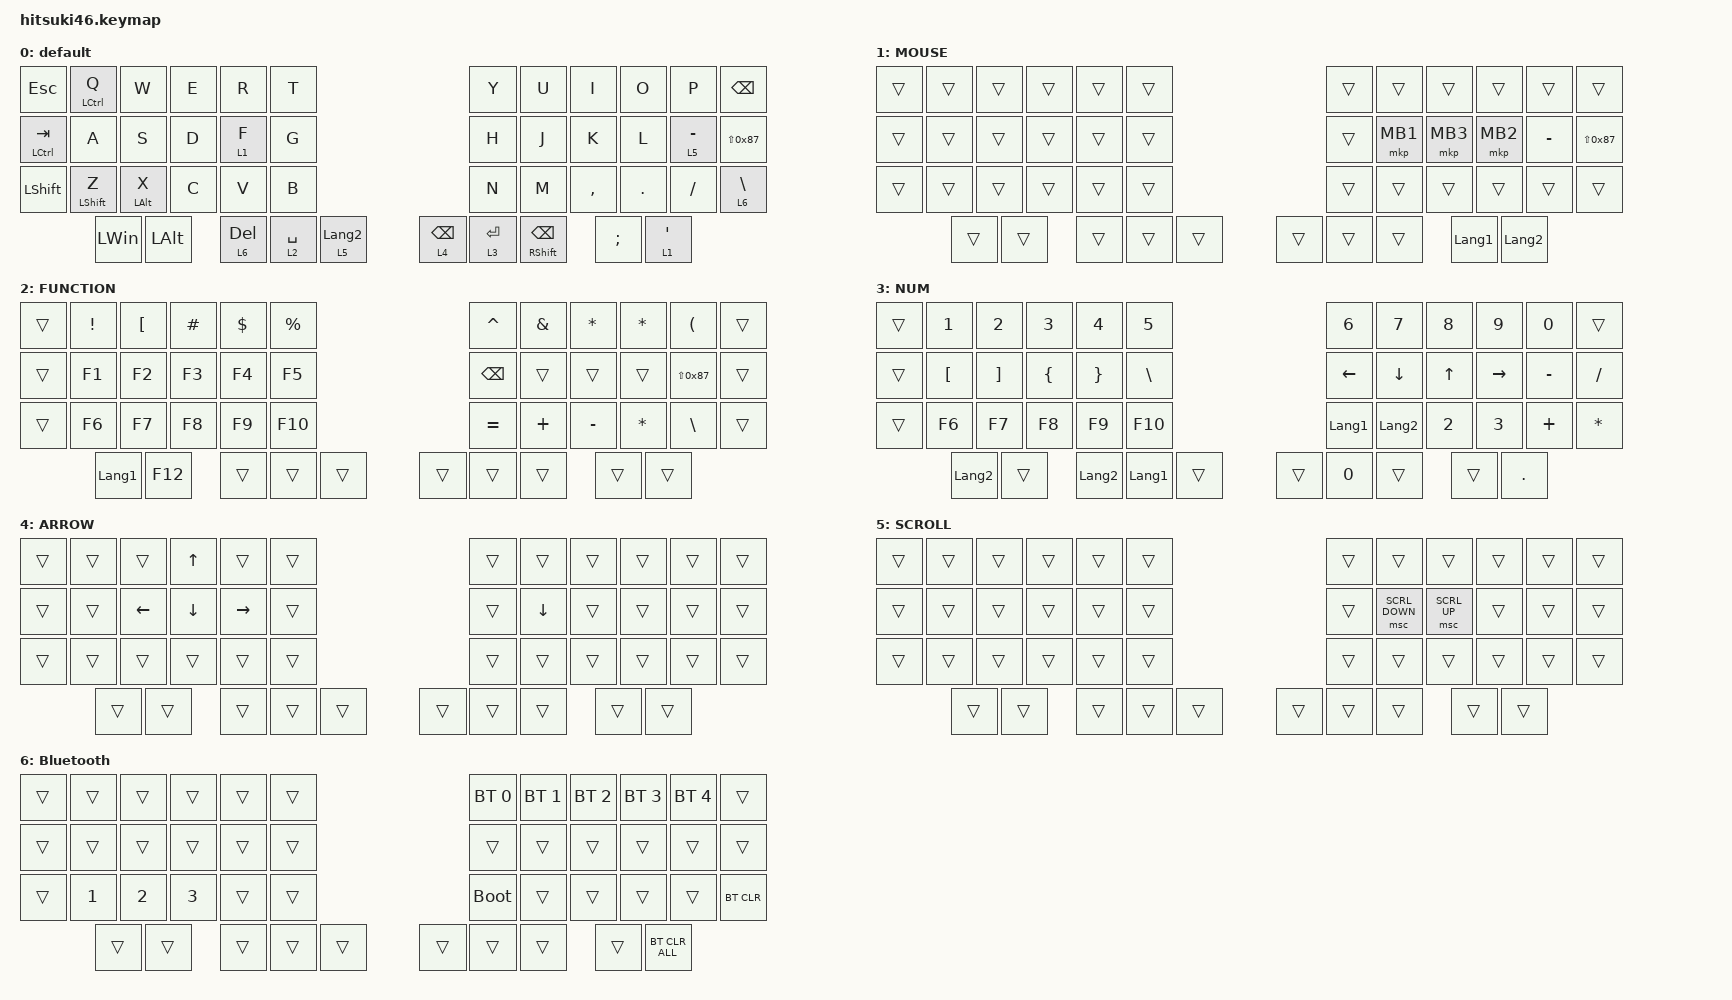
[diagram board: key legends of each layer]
#include <behaviors.dtsi>
#include <dt-bindings/zmk/bt.h>
#include <dt-bindings/zmk/keys.h>
#include <dt-bindings/zmk/pointing.h>

&mt {
    flavor = "balanced";
    quick-tap-ms = <0>;
};

// &trackball {
//     // Note: automouse-layer and scroll-layers are no longer supported in badjeff/zmk-pmw3610-driver
//     // These features should now be configured using layer-based zmk,input-listener in keymap
//     // automouse-layer = <1>;
//     // scroll-layers = <5>;
// };
// OS設定を日本語キーボードのまま使用するための変換定義

#define JP_DQUOTE       AT                // "
#define JP_AMPERSAND    CARET             // &
#define JP_QUOTE        AMPERSAND         // '
#define JP_EQUAL        UNDER             // =
#define JP_CARET        EQUAL             // ^
#define JP_YEN          0x89              // ¥
#define JP_PLUS         COLON             // +
#define JP_TILDE        PLUS              // ~
#define JP_PIPE         LS(0x89)          // |
#define JP_AT           LEFT_BRACKET      // @
#define JP_COLON        SINGLE_QUOTE      // :
#define JP_ASTERISK     DOUBLE_QUOTES     // *
#define JP_BACKQUOTE    LEFT_BRACE        // `
#define JP_UNDERSCORE   LS(0x87)          // _
#define JP_LBRACKET     RIGHT_BRACKET     // [
#define JP_RBRACKET     BACKSLASH         // ]
#define JP_LPAREN       ASTERISK          // (
#define JP_RPAREN       LEFT_PARENTHESIS  // )
#define JP_LBRACE       RIGHT_BRACE       // {
#define JP_RBRACE       PIPE              // }
#define JP_KANA         LANGUAGE_1        // かな
#define JP_EISU         LANGUAGE_2        // 英数
#define JP_HANZEN       GRAVE             // 半角/全角

/ {
    combos {
        compatible = "zmk,combos";

        tab {
            bindings = <&kp TAB>;
            key-positions = <11 12>;
        };

        shift_tab {
            bindings = <&kp LS(TAB)>;
            key-positions = <12 13>;
        };

        muhennkann {
            bindings = <&to_layer_0 INT_MUHENKAN>;
            key-positions = <11 10>;
        };

        double_quotation {
            bindings = <&kp DOUBLE_QUOTES>;
            key-positions = <20 21>;
        };

        eq {
            bindings = <&kp EQUAL>;
            key-positions = <24 25>;
        };
    };

    macros {
        to_layer_0: to_layer_0 {
            compatible = "zmk,behavior-macro-one-param";
            #binding-cells = <1>;
            bindings = <&to 0 &macro_param_1to1 &kp MACRO_PLACEHOLDER>;
            label = "TO_LAYER_0";
        };
    };

    behaviors {
        lt_to_layer_0: lt_to_layer_0 {
            compatible = "zmk,behavior-hold-tap";
            label = "LAYER_TAP_TO_0";
            bindings = <&mo>, <&to_layer_0>;

            #binding-cells = <2>;
            tapping-term-ms = <200>;
        };
    };

    keymap {
        compatible = "zmk,keymap";

        default {
            bindings = <
&kp ESCAPE      &mt LCTRL Q       &kp W           &kp E         &kp R        &kp T             &kp Y            &kp U        &kp I                 &kp O          &kp P        &kp BACKSPACE
&mt LCTRL TAB   &kp A             &kp S           &kp D         &lt 1 F      &kp G             &kp H            &kp J        &kp K                 &kp L          &lt 5 MINUS  &kp JP_UNDERSCORE
&kp LEFT_SHIFT  &mt LEFT_SHIFT Z  &mt LEFT_ALT X  &kp C         &kp V        &kp B             &kp N            &kp M        &kp COMMA             &kp PERIOD     &kp SLASH    &lt 6 BACKSLASH
                &kp LEFT_WIN      &kp LEFT_ALT    &lt 6 DELETE  &lt 2 SPACE  &lt 5 LANGUAGE_2  &lt 4 BACKSPACE  &lt 3 ENTER  &mt RSHIFT BACKSPACE  &kp SEMICOLON  &lt 1 SQT
            >;
        };

        MOUSE {
            bindings = <
&trans  &trans  &trans  &trans  &trans  &trans  &trans  &trans    &trans    &trans          &trans          &trans
&trans  &trans  &trans  &trans  &trans  &trans  &trans  &mkp MB1  &mkp MB3  &mkp MB2        &kp MINUS       &kp JP_UNDERSCORE
&trans  &trans  &trans  &trans  &trans  &trans  &trans  &trans    &trans    &trans          &trans          &trans
        &trans  &trans  &trans  &trans  &trans  &trans  &trans    &trans    &kp LANGUAGE_1  &kp LANGUAGE_2
            >;
        };

        FUNCTION {
            bindings = <
&trans  &kp EXCLAMATION  &kp JP_AT  &kp HASH  &kp DOLLAR  &kp PERCENT  &kp CARET      &kp AMPERSAND  &kp ASTERISK  &kp JP_LPAREN  &kp JP_RPAREN      &trans
&trans  &kp F1           &kp F2     &kp F3    &kp F4      &kp F5       &kp BACKSPACE  &trans         &trans        &trans         &kp JP_UNDERSCORE  &trans
&trans  &kp F6           &kp F7     &kp F8    &kp F9      &kp F10      &kp EQUAL      &kp PLUS       &kp MINUS     &kp ASTRK      &kp BACKSLASH      &trans
        &kp LANGUAGE_1   &kp F12    &trans    &trans      &trans       &trans         &trans         &trans        &trans         &trans
            >;
        };

        NUM {
            bindings = <
&trans  &kp N1            &kp N2             &kp N3          &kp N4           &kp N5         &kp N6          &kp N7          &kp N8        &kp N9           &kp N0      &trans
&trans  &kp LEFT_BRACKET  &kp RIGHT_BRACKET  &kp LEFT_BRACE  &kp RIGHT_BRACE  &kp BACKSLASH  &kp LEFT_ARROW  &kp DOWN_ARROW  &kp UP_ARROW  &kp RIGHT_ARROW  &kp MINUS   &kp SLASH
&trans  &kp F6            &kp F7             &kp F8          &kp F9           &kp F10        &kp LANGUAGE_1  &kp LANGUAGE_2  &kp NUMBER_2  &kp NUMBER_3     &kp PLUS    &kp ASTERISK
        &kp LANGUAGE_2    &trans             &kp LANGUAGE_2  &kp LANGUAGE_1   &trans         &trans          &kp NUMBER_0    &trans        &trans           &kp PERIOD
            >;
        };

        ARROW {
            bindings = <
&trans  &trans  &trans    &kp UP    &trans     &trans  &trans  &trans          &trans  &trans  &trans  &trans
&trans  &trans  &kp LEFT  &kp DOWN  &kp RIGHT  &trans  &trans  &kp DOWN_ARROW  &trans  &trans  &trans  &trans
&trans  &trans  &trans    &trans    &trans     &trans  &trans  &trans          &trans  &trans  &trans  &trans
        &trans  &trans    &trans    &trans     &trans  &trans  &trans          &trans  &trans  &trans
            >;
        };

        SCROLL {
            bindings = <
&trans  &trans  &trans  &trans  &trans  &trans  &trans  &trans          &trans        &trans  &trans  &trans
&trans  &trans  &trans  &trans  &trans  &trans  &trans  &msc SCRL_DOWN  &msc SCRL_UP  &trans  &trans  &trans
&trans  &trans  &trans  &trans  &trans  &trans  &trans  &trans          &trans        &trans  &trans  &trans
        &trans  &trans  &trans  &trans  &trans  &trans  &trans          &trans        &trans  &trans
            >;
        };

        Bluetooth {
            bindings = <
&trans  &trans        &trans        &trans        &trans  &trans  &bt BT_SEL 0  &bt BT_SEL 1  &bt BT_SEL 2  &bt BT_SEL 3  &bt BT_SEL 4    &trans
&trans  &trans        &trans        &trans        &trans  &trans  &trans        &trans        &trans        &trans        &trans          &trans
&trans  &kp NUMBER_1  &kp NUMBER_2  &kp NUMBER_3  &trans  &trans  &bootloader   &trans        &trans        &trans        &trans          &bt BT_CLR
        &trans        &trans        &trans        &trans  &trans  &trans        &trans        &trans        &trans        &bt BT_CLR_ALL
            >;
        };
    };
};
